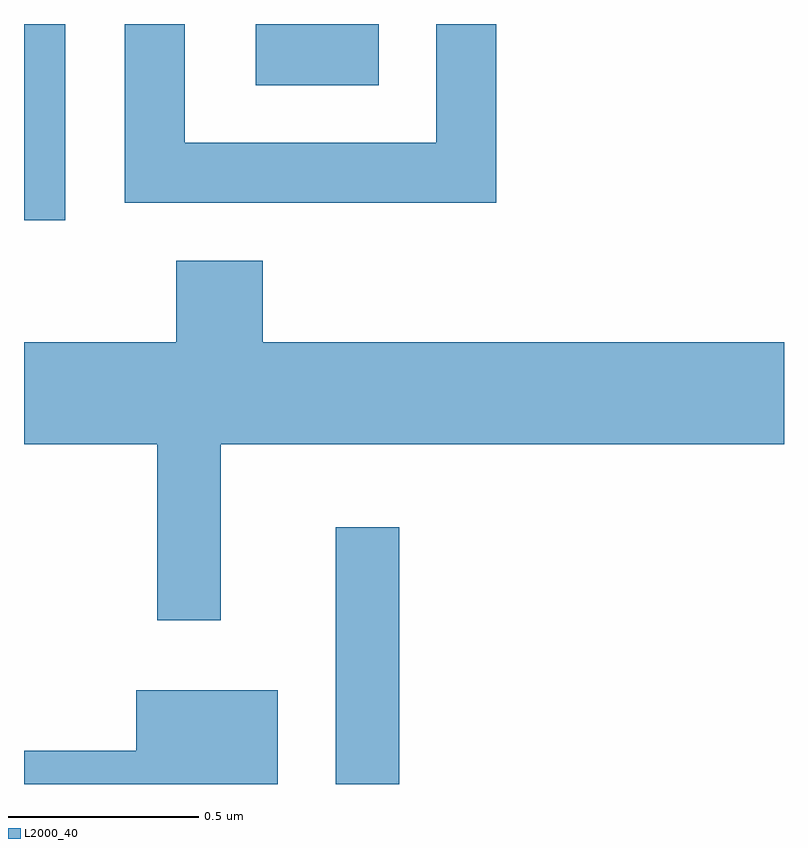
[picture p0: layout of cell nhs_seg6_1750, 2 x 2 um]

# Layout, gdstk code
import gdstk
lib = gdstk.Library(unit=1e-6, precision=1e-09)
def R(c, l, rs):  # rectangles x0, y0, x1, y1
    for r in rs: c.add(gdstk.rectangle(r[:2], r[2:], *l))
def P(c, l, *ps):  # polygons
    for p in ps: c.add(gdstk.Polygon(p, *l))
L2000_40 = (2000, 40)

nhs_seg6_1750 = lib.new_cell('nhs_seg6_1750')
R(nhs_seg6_1750, L2000_40, [(198.431,1640.162,198.599,1640.838), (197.611,1641.646,197.719,1642.162), (198.221,1642.001,198.544,1642.162)])
P(nhs_seg6_1750, L2000_40, [(198.854,1642.162),(198.696,1642.162),(198.696,1641.849),(198.034,1641.849),(198.034,1642.162),(197.876,1642.162),(197.876,1641.691),(198.854,1641.691)],
  [(198.129,1641.056),(199.611,1641.056),(199.611,1641.324),(198.239,1641.324),(198.239,1641.539),(198.011,1641.539),(198.011,1641.324),(197.611,1641.324),(197.611,1641.056),(197.961,1641.056),(197.961,1640.593),(198.129,1640.593)],
  [(198.279,1640.409),(197.906,1640.409),(197.906,1640.249),(197.611,1640.249),(197.611,1640.162),(198.279,1640.162)])

lib.write_gds('nhs_seg6_1750.gds')
